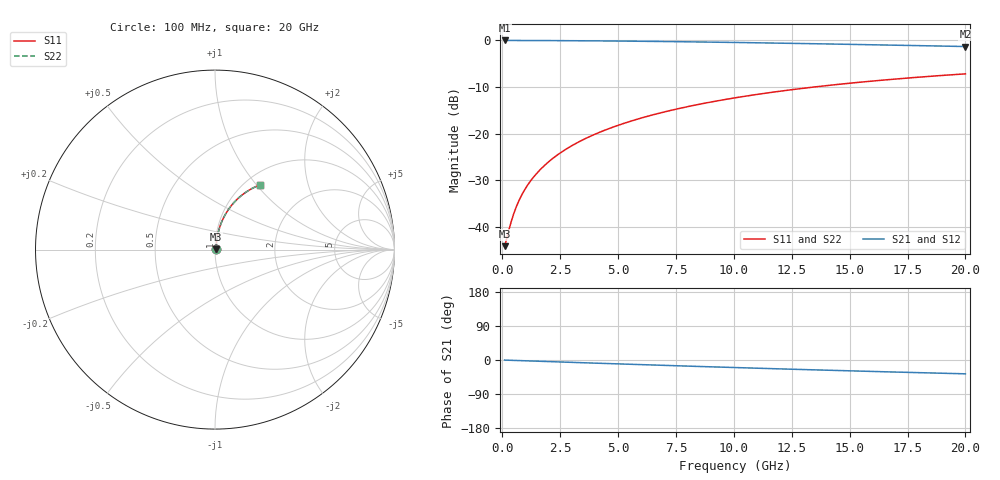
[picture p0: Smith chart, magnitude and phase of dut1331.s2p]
! Touchstone file exported from HFSS 2024.1.0
!  File:  C:/UserFiles/LocalFiles/RDL_TSV_Batchsim/temp_RDL_bottom_1331_1780369431.aedt
!  Generated:  11:06:25 AM Jun  2, 2026
!  Design:  RDL_bottom
!  Project:  temp_RDL_bottom_1331_1780369431
!  Setup:  Setup1
!  Solution:  Sweep
! Variables:
!  dtsv = 10.80580581um
!  hbump = 3um
!  htsv = 61.48um
!  ldown = 445.17um
!  lrdl = 100um
!  p = 40
!  p1 = 44.85um
!  rhole = 1um
!  t = 450um
!  tdown = 2.52um
!  trdl = 3.915915916um
!  wdown = 11.11um
!  wrdl = 20um
# GHz S MA R 50.000000
! Terminal data exported
! Port[1] = RDL1_T1
! Port[2] = RDL1_T2
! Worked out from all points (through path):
!   200 points, 100 MHz to 20 GHz, reference 50 ohm
!   highest |S21| = -0.05 dB at 100 MHz (marker M1); lowest = -1.3 dB at 20 GHz (marker M2)
!   group delay of S21, straight-line fit = 5.08 ps
!   lowest |S11| = -44.1 dB at 100 MHz (marker M3), VSWR 1.01, Z = 50.6 + j0.259 ohm
!   |S11| at or under -10 dB: start of sweep to 13.48 GHz
!   |S22| runs from -44.1 to -7.2 dB; largest |S21 - S12| = 4.3e-15
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0.1  0.006273 24.1  0.9943 -0.2  0.9943 -0.2  0.006273 24.1
! Gamma 0 0 0 0
! Port Impedance 50 0 50 0
0.4  0.01181 59.5  0.994 -0.9  0.994 -0.9  0.01181 59.5
0.5  0.01408 64.2  0.9939 -1.1  0.9939 -1.1  0.01408 64.2
0.6  0.01642 67.5  0.9938 -1.3  0.9938 -1.3  0.01642 67.5
0.7  0.01878 69.9  0.9936 -1.5  0.9936 -1.5  0.01878 69.9
0.9  0.02356 73.2  0.9933 -1.9  0.9933 -1.9  0.02356 73.2
1.2  0.03076 76.0  0.9928 -2.5  0.9928 -2.5  0.03076 76.0
1.4  0.03558 77.2  0.9924 -2.9  0.9924 -2.9  0.03558 77.2
1.7  0.04282 78.3  0.9918 -3.6  0.9918 -3.6  0.04282 78.3
2.2  0.05493 79.3  0.9907 -4.6  0.9907 -4.6  0.05493 79.3
2.8  0.06952 79.7  0.989 -5.8  0.989 -5.8  0.06952 79.7
3.5  0.08656 79.6  0.9866 -7.3  0.9866 -7.3  0.08656 79.6
4.2  0.1036 79.2  0.9838 -8.7  0.9838 -8.7  0.1036 79.2
5  0.123 78.4  0.9801 -10.3  0.9801 -10.3  0.123 78.4
5.9  0.1448 77.3  0.9753 -12.1  0.9753 -12.1  0.1448 77.3
6.8  0.1664 76.0  0.97 -13.8  0.97 -13.8  0.1664 76.0
8.3  0.2018 73.8  0.9599 -16.7  0.9599 -16.7  0.2018 73.8
10.1  0.2432 70.9  0.9463 -20.1  0.9463 -20.1  0.2432 70.9
11.7  0.2786 68.4  0.9331 -22.9  0.9331 -22.9  0.2786 68.4
13.4  0.3146 65.6  0.9182 -25.9  0.9182 -25.9  0.3147 65.6
16.7  0.3794 60.4  0.8876 -31.4  0.8876 -31.4  0.3794 60.4
20  0.4369 55.4  0.8561 -36.5  0.8561 -36.5  0.4369 55.4
